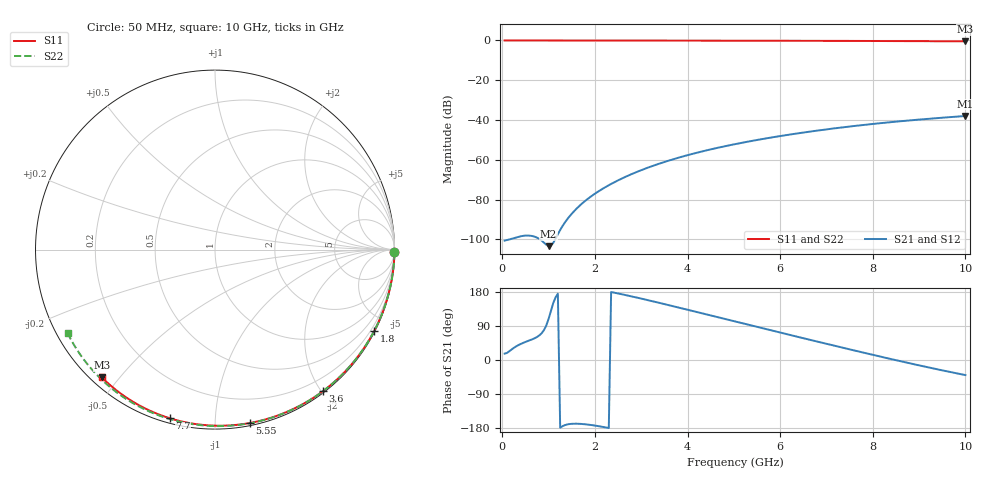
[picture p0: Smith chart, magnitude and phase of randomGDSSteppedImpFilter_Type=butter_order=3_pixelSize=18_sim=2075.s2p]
! freq	dB(S11)	phase(S11)	dB(S12)	phase(S12)
!  dB(S21)	phase(S21)	dB(S22)	phase(S22)
!S-par simulation data
#  GHz  S  DB  R 50
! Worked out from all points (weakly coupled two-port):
!   200 points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, 50 MHz to 10 GHz, reference 50 ohm
!   highest |S21| = -37.95 dB at 10 GHz (marker M1); lowest = -103.4 dB at 1 GHz (marker M2)
!   lowest |S11| = -0.4 dB at 10 GHz (marker M3), VSWR 39.66, Z = 1.52 - j22.5 ohm
!   |S11| at or under -10 dB: nowhere
!   |S22| runs from -0.5 to 0.0 dB; largest |S21 - S12| = 0
!   S11 on the Smith chart (normalised r, x): 50 MHz: open; 1.8 GHz: 0.04, -4.17; 3.6 GHz: 0.02, -2.02; 5.55 GHz: 0.02, -1.22; 7.7 GHz: 0.02, -0.77; 10 GHz: 0.03, -0.45
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0.05  -0.00 -0.8  -100.56 16.9  -100.56 16.9  -0.00 -0.9
0.5  -0.01 -7.6  -98.06 47.7  -98.06 47.7  -0.01 -8.7
1  -0.02 -15.1  -103.36 108.6  -103.36 108.6  -0.02 -17.4
1.75  -0.03 -26.2  -81.39 -169.2  -81.39 -169.2  -0.04 -30.1
1.8  -0.03 -27.0  -80.43 -169.8  -80.43 -169.8  -0.04 -30.9
1.85  -0.04 -27.7  -79.52 -170.5  -79.52 -170.5  -0.04 -31.8
2.05  -0.04 -30.6  -76.22 -174.0  -76.22 -174.0  -0.04 -35.1
2.2  -0.04 -32.8  -74.06 -177.2  -74.06 -177.2  -0.05 -37.6
2.55  -0.05 -37.9  -69.72 174.3  -69.72 174.3  -0.06 -43.4
2.95  -0.06 -43.6  -65.63 163.5  -65.63 163.5  -0.06 -49.9
3.4  -0.07 -49.9  -61.82 150.5  -61.82 150.5  -0.08 -57.1
3.6  -0.07 -52.7  -60.32 144.6  -60.32 144.6  -0.08 -60.3
3.9  -0.08 -56.8  -58.27 135.6  -58.27 135.6  -0.09 -65.0
4.3  -0.09 -62.3  -55.84 123.6  -55.84 123.6  -0.10 -71.1
5.05  -0.11 -72.2  -51.98 100.9  -51.98 100.9  -0.13 -82.4
5.55  -0.13 -78.7  -49.80 85.9  -49.80 85.9  -0.15 -89.7
6.1  -0.15 -85.7  -47.67 69.4  -47.67 69.4  -0.17 -97.5
6.7  -0.18 -93.1  -45.61 51.6  -45.61 51.6  -0.21 -105.9
7.7  -0.24 -105.1  -42.71 22.3  -42.71 22.3  -0.27 -119.6
8.35  -0.29 -112.6  -41.13 3.7  -41.13 3.7  -0.33 -128.3
9.2  -0.36 -122.4  -39.37 -19.5  -39.37 -19.5  -0.41 -139.7
10  -0.44 -131.5  -37.95 -39.8  -37.95 -39.8  -0.50 -150.5
